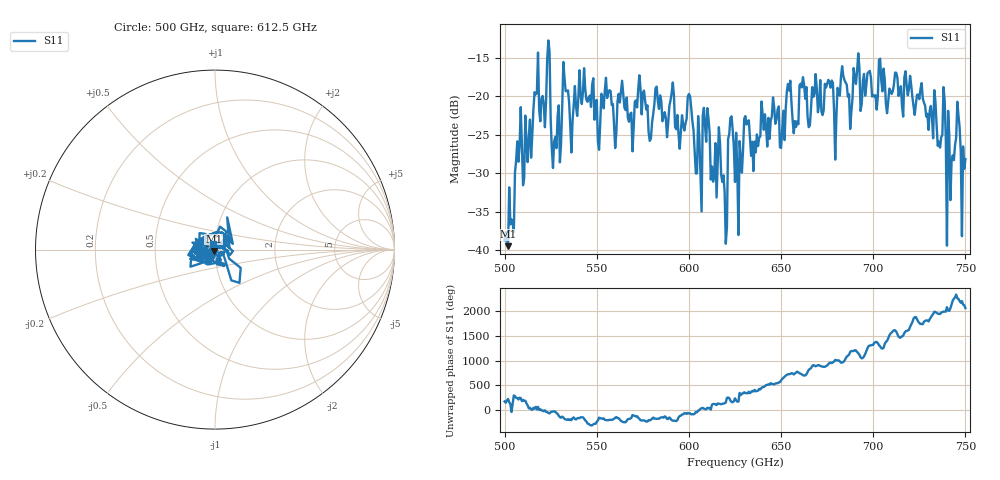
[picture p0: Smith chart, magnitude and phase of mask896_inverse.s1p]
!Created with skrf (http://scikit-rf.org).
# GHz S MA R 50.0
!freq magS11 angS11
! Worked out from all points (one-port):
!   401 points, 500 GHz to 750 GHz, reference 50 ohm
!   lowest |S11| = -39.5 dB at 501.9 GHz (marker M1), VSWR 1.02, Z = 49.3 - j0.772 ohm
!   |S11| at or under -10 dB: start of sweep to end of sweep
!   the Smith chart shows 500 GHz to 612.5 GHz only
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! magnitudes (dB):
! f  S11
! 500 GHz  -38.7
! 501.9 GHz  -39.5
! 507.5 GHz  -28.5
! 513.8 GHz  -23.1
! 516.9 GHz  -19.8
! 523.8 GHz  -12.8
! 526.9 GHz  -25.9
! 531.2 GHz  -21.4
! 562.5 GHz  -20.8
! 579.4 GHz  -25.5
! 590.6 GHz  -19.6
! 593.8 GHz  -22.4
! 600.6 GHz  -20.0
! 605.6 GHz  -25.3
! 609.4 GHz  -25.9
! 619.4 GHz  -32.4
! 622.5 GHz  -22.8
! 625 GHz  -31.2
! 656.2 GHz  -23.1
! 680 GHz  -22.7
! 683.8 GHz  -17.4
! 687.5 GHz  -24.3
! 690.6 GHz  -18.4
! 718.8 GHz  -19.9
! 738.1 GHz  -18.8
! 741.2 GHz  -25.1
! 745.6 GHz  -20.7
! 750 GHz  -28.2
